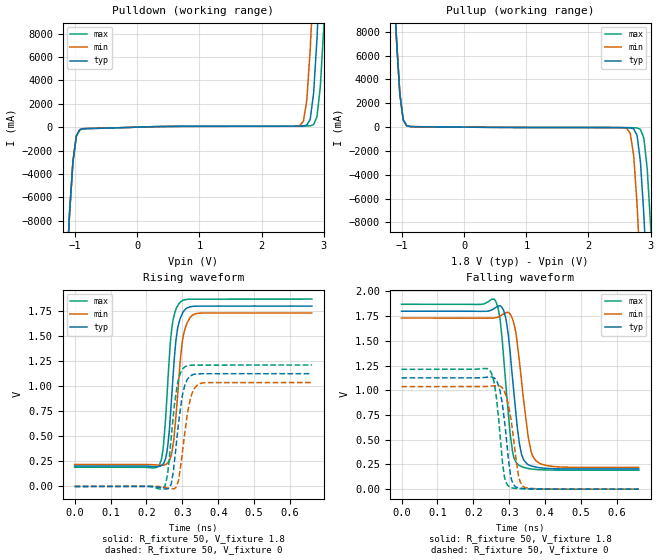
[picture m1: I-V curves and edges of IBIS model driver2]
| IBIS file invchain_skewp_tr1ps.ibs created by PYS2IBIS3
| Missouri S&T EMC Lab
[IBIS Ver] 7.1
[File Name] invchain_skewp_tr1ps.ibs
[File Rev] 1.0
[Date] Jul 27, 2026
[Source] inv_chain variant 'skewp' -- weak PMOS, Wp = Wn
[Notes] Parameter selection; sim_time=6.606e-10, tr=tf=1.000e-12.
[Component] invchain
[Manufacturer] s2ibispy study
[Package]
| variable   typ   min   max
R_pkg 0 NA NA
L_pkg 0H NA NA
C_pkg 0F NA NA
[Pin]  signal_name   model_name   R_pin   L_pin   C_pin
VSSQ   VSSQ   Gnd
VCCQ   VCCQ   Power
| IN IN dummy
PAD   PAD   driver2
| End of Component
| Models and submodels in the file (1): driver2 (Output)
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[Model] driver2
Model_type Output
Polarity Non-Inverting
Enable Active-High
Vinl  = 0.8V
Vinh  = 2V
C_comp 0.4680pF NA NA
[Temperature Range] 27.0000 27.0000 27.0000
[Voltage Range] 1.8000V 1.7000V 1.9000V
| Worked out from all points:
|   slope of the pulldown table from 0 to 0.27 V, typ, clamps not added: 6.79 ohm
|   slope of the pullup table from 0 to 0.27 V, typ, clamps not added: 24.6 ohm
|   rising waveform, R_fixture 50, V_fixture 1.8: 20-80 % time 20.2ps typ, 21.4ps min, 18.9ps max; typ from 0.204 V to 1.8 V
|   rising waveform, R_fixture 50, V_fixture 0: 20-80 % time 22.4ps typ, 23.8ps min, 21.3ps max; typ from 0 V to 1.12 V
|   falling waveform, R_fixture 50, V_fixture 1.8: 20-80 % time 26ps typ, 29.3ps min, 23.8ps max; typ from 1.8 V to 0.204 V
|   falling waveform, R_fixture 50, V_fixture 0: 20-80 % time 21.1ps typ, 23.8ps min, 19.3ps max; typ from 1.12 V to 0 V
[Pulldown]
| Voltage   I(typ)   I(min)   I(max)
-1.8V     -87.88A    -87.88A    -87.88A
-1.145V   -13.18A    -13.18A    -13.18A
-1.091V   -7.364A    -7.362A    -7.366A
-981.8mV  -760.7mA   -755.8mA   -765.3mA
-927.3mV  -221.8mA   -216.4mA   -227mA
2.618V    89.37mA    140mA      93.72mA
2.727V    172.9mA    2.318A     99.43mA
2.836V    2.874A     12.68A     215.6mA
2.891V    7.545A     19.33A     885.6mA
2.946V    13.8A      25.98A     3.505A
3V        20.45A     32.63A     8.516A
3.6V      93.6A      105.8A     81.42A
[Pullup]
| Voltage   I(typ)   I(min)   I(max)
-1.8V     93.5A      93.5A      93.5A
-1.145V   13.72A     13.72A     13.72A
-1.091V   7.473A     7.472A     7.473A
-1.036V   2.812A     2.811A     2.812A
-981.8mV  621.2mA    620.4mA    621.9mA
-927.3mV  124.8mA    123.9mA    125.6mA
2.618V    -45.42mA   -113mA     -43.22mA
2.727V    -144.2mA   -2.378A    -50.27mA
2.836V    -2.918A    -12.15A    -185.8mA
2.891V    -7.358A    -18.37A    -914mA
3V        -19.41A    -30.82A    -8.26A
3.6V      -87.89A    -99.3A     -76.48A
[Ramp]
| variable   typ   min   max
dV/dt_r 0.6750/0.02277n 0.6222/0.02388n 0.7272/0.02142n
dV/dt_f 0.9575/0.02615n 0.8972/0.02836n 1.0171/0.02433n
R_load = 50
[Rising Waveform]
R_fixture = 50
V_fixture = 1.8
|time   V(typ)   V(min)   V(max)
0s        204.2mV    219.5mV    192.2mV
235.4ps   199.7mV    211.9mV    210.7mV
246.7ps   224.3mV    213.2mV    382.2mV
255.3ps   312.2mV    221.5mV    791.7mV
270.5ps   899.7mV    332.8mV    1.579V
281ps     1.43V      644.7mV    1.758V
295.6ps   1.692V     1.313V     1.845V
310.1ps   1.774V     1.605V     1.866V
334.6ps   1.799V     1.721V     1.87V
660.6ps   1.8V       1.731V     1.87V
[Rising Waveform]
R_fixture = 50
V_fixture = 0
|time   V(typ)   V(min)   V(max)
0s        9.143nV    8.943nV    9.398nV
250.6ps   -24.71mV   -8.669mV   -1.171mV
258.6ps   -23.4mV    -16.27mV   116.1mV
269.1ps   27.07mV    -23.14mV   495.8mV
277.7ps   240.4mV    -21.72mV   811.4mV
289ps     621.6mV    53.53mV    1.066V
308.2ps   1.022V     582.1mV    1.197V
326ps     1.111V     921.7mV    1.211V
348.5ps   1.125V     1.026V     1.212V
660.6ps   1.125V     1.037V     1.212V
[Falling Waveform]
R_fixture = 50
V_fixture = 1.8
|time   V(typ)   V(min)   V(max)
0s        1.8V       1.731V     1.87V
261.9ps   1.837V     1.733V     1.904V
274.4ps   1.855V     1.751V     1.721V
291ps     1.719V     1.785V     1.037V
308.2ps   1.153V     1.729V     394mV
325.4ps   533.6mV    1.383V     245.8mV
333.9ps   353.5mV    1.101V     228.9mV
353.1ps   247mV      520.9mV    208.7mV
373.6ps   223.7mV    289.6mV    199.1mV
660.6ps   204.2mV    219.5mV    192.2mV
[Falling Waveform]
R_fixture = 50
V_fixture = 0
|time   V(typ)   V(min)   V(max)
0s        1.125V     1.037V     1.212V
246.7ps   1.135V     1.041V     1.197V
261.9ps   1.112V     1.046V     994.5mV
273.8ps   1.002V     1.043V     576.6mV
286.3ps   704.9mV    991.3mV    128mV
300.2ps   229mV      805.4mV    22.05mV
307.5ps   83.41mV    639.5mV    12.61mV
326ps     12.54mV    128.8mV    6.007mV
341.9ps   6.597mV    19.41mV    3.16mV
660.6ps   -179.9nV   -712.4nV   22.67nV
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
